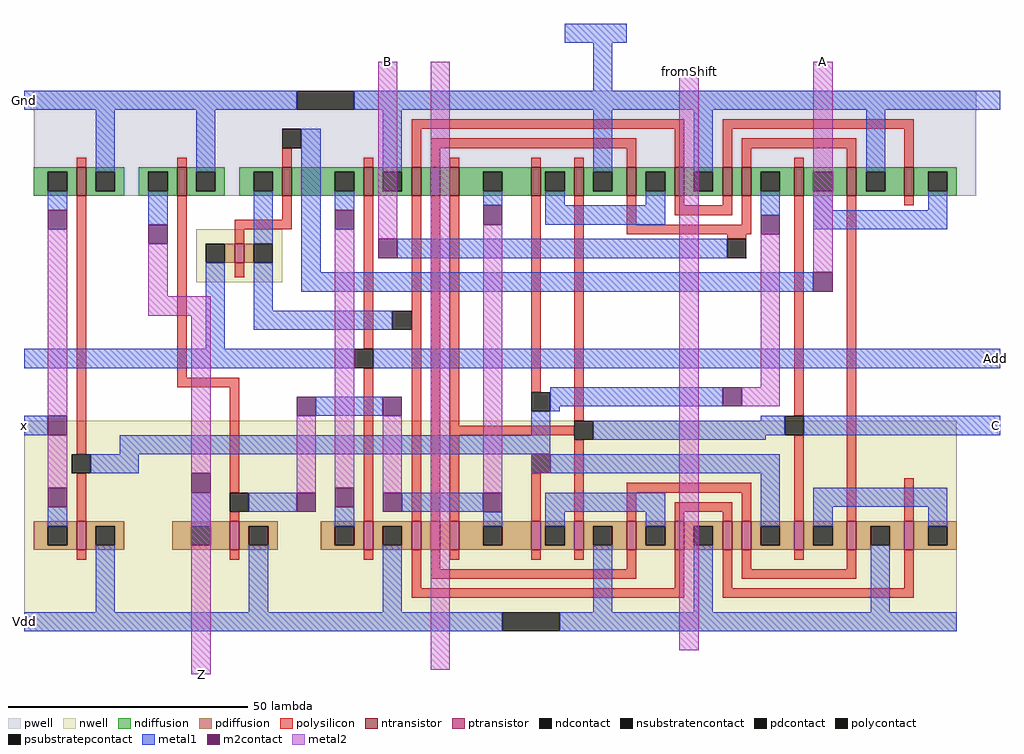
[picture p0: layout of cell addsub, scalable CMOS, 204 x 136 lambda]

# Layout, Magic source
magic
tech scmos
<< pwell >>
rect -105 43 92 65
<< nwell >>
rect -71 25 -53 36
rect -107 -48 88 -4
<< polysilicon >>
rect -26 57 31 59
rect -96 49 -94 51
rect -75 49 -73 51
rect -53 49 -51 53
rect -36 49 -34 51
rect -26 49 -24 57
rect -22 53 21 55
rect -22 49 -20 53
rect -18 49 -16 51
rect -1 49 1 51
rect 8 49 10 51
rect 19 49 21 53
rect 29 49 31 57
rect 39 57 79 59
rect 39 49 41 57
rect 43 53 67 55
rect 43 49 45 53
rect 54 49 56 51
rect 65 49 67 53
rect 77 49 79 57
rect -96 -11 -94 43
rect -75 5 -73 43
rect -53 38 -51 43
rect -63 36 -51 38
rect -63 33 -61 36
rect -63 26 -61 29
rect -36 11 -34 43
rect -75 3 -62 5
rect -96 -25 -94 -15
rect -64 -19 -62 3
rect -64 -25 -62 -23
rect -36 -25 -34 7
rect -26 -25 -24 43
rect -22 -25 -20 43
rect -18 -5 -16 43
rect -1 2 1 43
rect 8 -4 10 43
rect 19 37 21 43
rect 29 41 31 43
rect 39 41 41 43
rect 29 39 41 41
rect 43 37 45 43
rect 19 35 45 37
rect 40 34 44 35
rect 54 -3 56 43
rect -18 -7 8 -5
rect -18 -25 -16 -7
rect -1 -25 1 -15
rect 8 -25 10 -8
rect 19 -19 45 -17
rect 19 -25 21 -19
rect 29 -23 41 -21
rect 29 -25 31 -23
rect 39 -25 41 -23
rect 43 -25 45 -19
rect 54 -25 56 -7
rect 65 -25 67 43
rect 77 41 79 43
rect 77 -25 79 -16
rect -96 -33 -94 -31
rect -64 -33 -62 -31
rect -36 -33 -34 -31
rect -26 -39 -24 -31
rect -22 -35 -20 -31
rect -18 -33 -16 -31
rect -1 -33 1 -31
rect 8 -33 10 -31
rect 19 -35 21 -31
rect -22 -37 21 -35
rect 29 -39 31 -31
rect -26 -41 31 -39
rect 39 -39 41 -31
rect 43 -35 45 -31
rect 54 -33 56 -31
rect 65 -35 67 -31
rect 43 -37 67 -35
rect 77 -39 79 -31
rect 39 -41 79 -39
<< ndiffusion >>
rect -105 48 -96 49
rect -105 44 -102 48
rect -98 44 -96 48
rect -105 43 -96 44
rect -94 48 -86 49
rect -94 44 -92 48
rect -88 44 -86 48
rect -94 43 -86 44
rect -83 48 -75 49
rect -83 44 -81 48
rect -77 44 -75 48
rect -83 43 -75 44
rect -73 48 -65 49
rect -73 44 -71 48
rect -67 44 -65 48
rect -73 43 -65 44
rect -62 48 -53 49
rect -62 44 -59 48
rect -55 44 -53 48
rect -62 43 -53 44
rect -51 48 -36 49
rect -51 44 -42 48
rect -38 44 -36 48
rect -51 43 -36 44
rect -34 48 -26 49
rect -34 44 -32 48
rect -28 44 -26 48
rect -34 43 -26 44
rect -24 43 -22 49
rect -20 43 -18 49
rect -16 48 -1 49
rect -16 44 -11 48
rect -7 44 -1 48
rect -16 43 -1 44
rect 1 48 8 49
rect 1 44 2 48
rect 6 44 8 48
rect 1 43 8 44
rect 10 48 19 49
rect 10 44 12 48
rect 16 44 19 48
rect 10 43 19 44
rect 21 48 29 49
rect 21 44 23 48
rect 27 44 29 48
rect 21 43 29 44
rect 31 48 39 49
rect 31 44 33 48
rect 37 44 39 48
rect 31 43 39 44
rect 41 43 43 49
rect 45 48 54 49
rect 45 44 47 48
rect 51 44 54 48
rect 45 43 54 44
rect 56 48 65 49
rect 56 44 58 48
rect 62 44 65 48
rect 56 43 65 44
rect 67 48 77 49
rect 67 44 69 48
rect 73 44 77 48
rect 67 43 77 44
rect 79 48 88 49
rect 79 44 82 48
rect 86 44 88 48
rect 79 43 88 44
<< pdiffusion >>
rect -65 29 -63 33
rect -61 29 -59 33
rect -105 -26 -96 -25
rect -105 -30 -102 -26
rect -98 -30 -96 -26
rect -105 -31 -96 -30
rect -94 -26 -86 -25
rect -94 -30 -92 -26
rect -88 -30 -86 -26
rect -94 -31 -86 -30
rect -76 -26 -64 -25
rect -76 -30 -72 -26
rect -68 -30 -64 -26
rect -76 -31 -64 -30
rect -62 -26 -54 -25
rect -62 -30 -60 -26
rect -56 -30 -54 -26
rect -62 -31 -54 -30
rect -45 -26 -36 -25
rect -45 -30 -42 -26
rect -38 -30 -36 -26
rect -45 -31 -36 -30
rect -34 -26 -26 -25
rect -34 -30 -32 -26
rect -28 -30 -26 -26
rect -34 -31 -26 -30
rect -24 -31 -22 -25
rect -20 -31 -18 -25
rect -16 -26 -1 -25
rect -16 -30 -11 -26
rect -7 -30 -1 -26
rect -16 -31 -1 -30
rect 1 -26 8 -25
rect 1 -30 2 -26
rect 6 -30 8 -26
rect 1 -31 8 -30
rect 10 -26 19 -25
rect 10 -30 12 -26
rect 16 -30 19 -26
rect 10 -31 19 -30
rect 21 -26 29 -25
rect 21 -30 23 -26
rect 27 -30 29 -26
rect 21 -31 29 -30
rect 31 -26 39 -25
rect 31 -30 33 -26
rect 37 -30 39 -26
rect 31 -31 39 -30
rect 41 -31 43 -25
rect 45 -26 54 -25
rect 45 -30 47 -26
rect 51 -30 54 -26
rect 45 -31 54 -30
rect 56 -26 65 -25
rect 56 -30 58 -26
rect 62 -30 65 -26
rect 56 -31 65 -30
rect 67 -26 77 -25
rect 67 -31 70 -26
rect 74 -31 77 -26
rect 79 -26 88 -25
rect 79 -30 82 -26
rect 86 -30 88 -26
rect 79 -31 88 -30
<< metal1 >>
rect 6 75 19 79
rect 12 65 16 75
rect -107 61 -50 65
rect -38 61 97 65
rect -92 48 -88 61
rect -71 48 -67 61
rect -102 40 -98 44
rect -81 37 -77 44
rect -59 33 -55 44
rect -69 11 -65 29
rect -59 19 -55 29
rect -49 27 -45 57
rect -32 48 -28 61
rect 12 48 16 61
rect 33 48 37 61
rect 69 48 73 61
rect -42 40 -38 44
rect -11 41 -7 44
rect 2 41 6 44
rect 23 41 27 44
rect 2 37 27 41
rect 47 39 51 44
rect 58 40 62 44
rect 82 40 86 44
rect 58 36 86 40
rect -29 30 40 34
rect -49 23 58 27
rect -59 15 -30 19
rect -107 7 -38 11
rect -34 7 97 11
rect -46 -3 -32 1
rect 3 -1 39 3
rect 3 -2 5 -1
rect -107 -7 -102 -3
rect -1 -7 3 -2
rect 47 -4 52 -3
rect -87 -11 3 -7
rect 12 -7 52 -4
rect 56 -7 97 -3
rect 12 -8 48 -7
rect -93 -15 -83 -11
rect 3 -15 51 -11
rect -102 -26 -98 -22
rect -72 -26 -68 -19
rect -60 -23 -50 -19
rect -42 -26 -38 -22
rect -28 -23 -11 -19
rect -11 -26 -7 -23
rect 2 -23 27 -19
rect 2 -26 6 -23
rect 23 -26 27 -23
rect 47 -26 51 -15
rect 58 -22 86 -18
rect 58 -26 62 -22
rect 82 -26 86 -22
rect -92 -44 -88 -30
rect -60 -44 -56 -30
rect -32 -44 -28 -30
rect 12 -44 16 -30
rect 33 -44 37 -30
rect 70 -44 74 -30
rect -107 -48 -7 -44
rect 5 -48 88 -44
<< metal2 >>
rect -102 -3 -98 36
rect -81 22 -77 33
rect -81 18 -68 22
rect -102 -18 -98 -7
rect -72 -15 -68 18
rect -72 -57 -68 -19
rect -50 -19 -46 -3
rect -42 -18 -38 36
rect -33 34 -29 71
rect -32 -19 -28 -3
rect -22 -56 -18 71
rect -11 -19 -7 37
rect -1 -15 3 -11
rect 30 -52 34 69
rect 47 3 51 35
rect 58 27 62 71
rect 43 -1 51 3
<< ntransistor >>
rect -96 43 -94 49
rect -75 43 -73 49
rect -53 43 -51 49
rect -36 43 -34 49
rect -26 43 -24 49
rect -22 43 -20 49
rect -18 43 -16 49
rect -1 43 1 49
rect 8 43 10 49
rect 19 43 21 49
rect 29 43 31 49
rect 39 43 41 49
rect 43 43 45 49
rect 54 43 56 49
rect 65 43 67 49
rect 77 43 79 49
<< ptransistor >>
rect -63 29 -61 33
rect -96 -31 -94 -25
rect -64 -31 -62 -25
rect -36 -31 -34 -25
rect -26 -31 -24 -25
rect -22 -31 -20 -25
rect -18 -31 -16 -25
rect -1 -31 1 -25
rect 8 -31 10 -25
rect 19 -31 21 -25
rect 29 -31 31 -25
rect 39 -31 41 -25
rect 43 -31 45 -25
rect 54 -31 56 -25
rect 65 -31 67 -25
rect 77 -31 79 -25
<< polycontact >>
rect -53 53 -49 57
rect -30 15 -26 19
rect -38 7 -34 11
rect -97 -15 -93 -11
rect -64 -23 -60 -19
rect -1 -2 3 2
rect 40 30 44 34
rect 8 -8 12 -4
rect 52 -7 56 -3
rect -1 -15 3 -11
<< ndcontact >>
rect -102 44 -98 48
rect -92 44 -88 48
rect -81 44 -77 48
rect -71 44 -67 48
rect -59 44 -55 48
rect -42 44 -38 48
rect -32 44 -28 48
rect -11 44 -7 48
rect 2 44 6 48
rect 12 44 16 48
rect 23 44 27 48
rect 33 44 37 48
rect 47 44 51 48
rect 58 44 62 48
rect 69 44 73 48
rect 82 44 86 48
<< pdcontact >>
rect -69 29 -65 33
rect -59 29 -55 33
rect -102 -30 -98 -26
rect -92 -30 -88 -26
rect -72 -30 -68 -26
rect -60 -30 -56 -26
rect -42 -30 -38 -26
rect -32 -30 -28 -26
rect -11 -30 -7 -26
rect 2 -30 6 -26
rect 12 -30 16 -26
rect 23 -30 27 -26
rect 33 -30 37 -26
rect 47 -30 51 -26
rect 58 -30 62 -26
rect 70 -30 74 -26
rect 82 -30 86 -26
<< m2contact >>
rect -102 36 -98 40
rect -81 33 -77 37
rect -42 36 -38 40
rect -11 37 -7 41
rect 47 35 51 39
rect -33 30 -29 34
rect 58 23 62 27
rect -50 -3 -46 1
rect -32 -3 -28 1
rect 39 -1 43 3
rect -102 -7 -98 -3
rect -102 -22 -98 -18
rect -72 -19 -68 -15
rect -50 -23 -46 -19
rect -42 -22 -38 -18
rect -32 -23 -28 -19
rect -11 -23 -7 -19
<< psubstratepcontact >>
rect -50 61 -38 65
<< nsubstratencontact >>
rect -7 -48 5 -44
<< labels >>
rlabel metal2 -33 71 -29 71 5 B
rlabel metal2 30 69 34 69 5 fromShift
rlabel metal2 58 71 62 71 1 A
rlabel metal1 96 7 96 11 7 Add
rlabel metal1 96 -7 96 -3 7 C
rlabel metal2 -72 -57 -68 -57 1 Z
rlabel metal1 -107 61 -107 65 1 Gnd
rlabel metal1 -107 -48 -107 -44 1 Vdd
rlabel metal1 -107 -7 -107 -3 3 x
<< end >>
